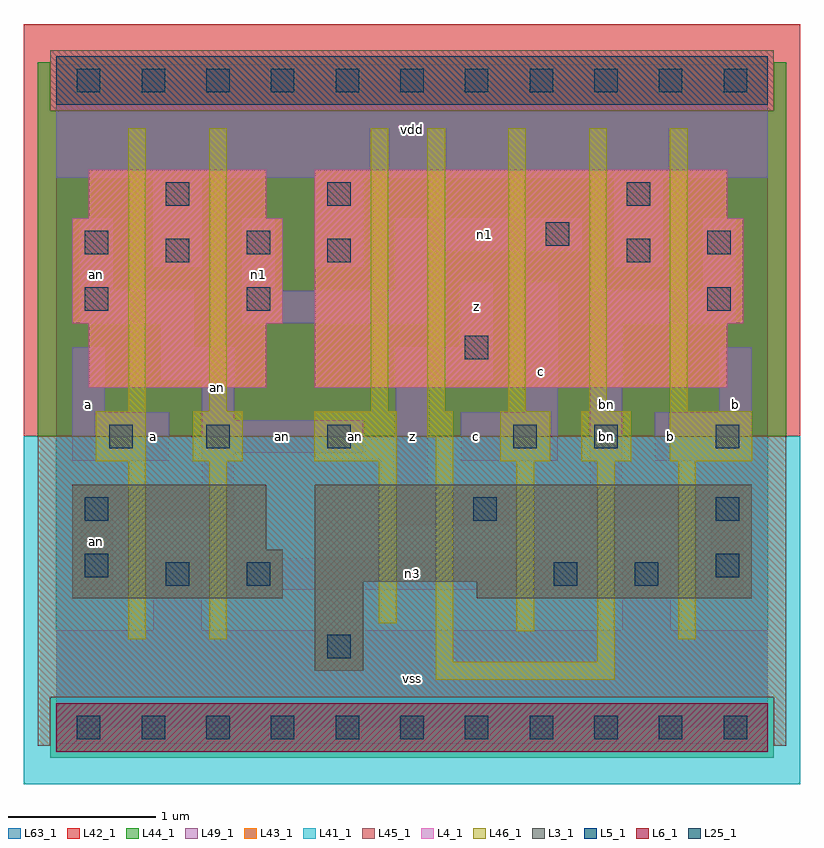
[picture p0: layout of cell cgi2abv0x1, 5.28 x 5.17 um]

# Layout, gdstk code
import gdstk
lib = gdstk.Library(unit=1e-6, precision=1e-09)
def R(c, l, rs):  # rectangles x0, y0, x1, y1
    for r in rs: c.add(gdstk.rectangle(r[:2], r[2:], *l))
def A(c, l, x, y, w, h, nx, ny, dx, dy):  # array of equal rectangles
    R(c, l, [(x+i*dx, y+j*dy, x+i*dx+w, y+j*dy+h) for i in range(nx) for j in range(ny)])
L3_1 = (3, 1)
L4_1 = (4, 1)
L5_1 = (5, 1)
L6_1 = (6, 1)
L25_1 = (25, 1)
L41_1 = (41, 1)
L42_1 = (42, 1)
L43_1 = (43, 1)
L44_1 = (44, 1)
L45_1 = (45, 1)
L46_1 = (46, 1)
L49_1 = (49, 1)
L63_1 = (63, 1)

cgi2abv0x1 = lib.new_cell('cgi2abv0x1')
R(cgi2abv0x1, L3_1, [(1.76,0.385,2.09,0.99), (0.11,0.88,1.54,1.21), (2.86,0.88,4.73,0.99), (1.76,0.99,4.73,1.65), (0.11,1.21,1.43,1.65)])
R(cgi2abv0x1, L4_1, [(0.22,2.31,1.43,2.75), (1.76,2.31,4.565,2.75), (0.11,2.75,1.54,3.465), (1.76,2.75,4.675,3.465), (0.22,3.465,1.43,3.795), (1.76,3.465,4.565,3.795)])
R(cgi2abv0x1, L5_1, [(0,4.235,4.84,4.565)])
R(cgi2abv0x1, L6_1, [(0,-0.165,4.84,0.165)])
A(cgi2abv0x1, L25_1, 0.14, -0.08, 0.16, 0.16, 11, 2, 0.44, 4.4)
R(cgi2abv0x1, L25_1, [(1.845,0.47,2.005,0.63), (0.745,0.965,0.905,1.125), (1.295,0.965,1.455,1.125), (3.385,0.965,3.545,1.125), (3.935,0.965,4.095,1.125), (0.195,1.02,0.355,1.18), (4.485,1.02,4.645,1.18), (0.195,1.405,0.355,1.565), (2.835,1.405,2.995,1.565), (4.485,1.405,4.645,1.565), (0.36,1.9,0.52,2.06), (1.02,1.9,1.18,2.06), (1.845,1.9,2.005,2.06), (3.11,1.9,3.27,2.06), (3.66,1.9,3.82,2.06), (4.485,1.9,4.645,2.06), (2.78,2.505,2.94,2.665), (0.195,2.835,0.355,2.995), (1.295,2.835,1.455,2.995), (4.43,2.835,4.59,2.995), (0.745,3.165,0.905,3.325), (1.845,3.165,2.005,3.325), (3.88,3.165,4.04,3.325), (0.195,3.22,0.355,3.38), (1.295,3.22,1.455,3.38), (4.43,3.22,4.59,3.38), (3.33,3.275,3.49,3.435), (0.745,3.55,0.905,3.71), (1.845,3.55,2.005,3.71), (3.88,3.55,4.04,3.71)])
R(cgi2abv0x1, L41_1, [(-0.22,-0.385,5.06,1.98)])
R(cgi2abv0x1, L42_1, [(-0.22,1.98,5.06,4.785)])
R(cgi2abv0x1, L43_1, [(0,-0.165,4.84,0.165), (1.76,0.385,2.09,0.99), (0.11,0.88,1.54,1.21), (2.86,0.88,4.73,0.99), (1.76,0.99,4.73,1.65), (0.11,1.21,1.43,1.65), (0.22,2.31,1.43,2.75), (1.76,2.31,4.565,2.75), (0.11,2.75,1.54,3.465), (1.76,2.75,4.675,3.465), (0.22,3.465,1.43,3.795), (1.76,3.465,4.565,3.795), (0,4.235,4.84,4.565)])
R(cgi2abv0x1, L44_1, [(-0.04,-0.205,4.88,0.205), (-0.125,1.98,4.965,4.195), (-0.125,4.195,-0.04,4.525), (4.88,4.195,4.965,4.525)])
R(cgi2abv0x1, L45_1, [(-0.125,-0.125,-0.04,0.205), (4.88,-0.125,4.965,0.205), (-0.125,0.205,4.965,1.98), (-0.04,4.195,4.88,4.605)])
A(cgi2abv0x1, L46_1, 2.525, 2.15, 0.12, 1.925, 4, 1, 0.55, 0)
R(cgi2abv0x1, L46_1, [(2.58,0.325,3.8,0.445), (2.58,0.445,2.7,1.975), (3.68,0.445,3.8,1.81), (0.49,0.6,0.61,1.81), (1.04,0.6,1.16,1.81), (4.23,0.6,4.35,1.81), (3.13,0.655,3.25,1.81), (2.195,0.71,2.315,1.81), (0.27,1.81,0.61,2.15), (0.93,1.81,1.27,2.15), (1.755,1.81,2.315,2.15), (3.02,1.81,3.36,2.15), (3.57,1.81,3.91,2.15), (4.175,1.81,4.735,2.15), (2.525,1.975,2.7,2.15), (0.49,2.15,0.61,4.075), (1.04,2.15,1.16,4.075), (2.14,2.15,2.26,4.075)])
R(cgi2abv0x1, L49_1, [(0,-0.11,4.84,0.66), (0.66,0.66,0.99,1.155), (3.85,0.66,4.18,1.155), (0.165,0.935,0.385,1.43), (1.21,0.935,3.63,1.155), (4.455,0.935,4.675,1.43), (2.31,1.375,3.08,1.595), (0.165,1.43,1.21,1.65), (3.63,1.43,4.675,1.65), (2.31,1.595,2.53,2.365), (0.99,1.65,1.21,1.87), (3.63,1.65,3.85,2.75), (0.11,1.815,0.77,2.145), (2.75,1.815,3.41,2.145), (4.07,1.815,4.73,2.145), (0.99,1.87,2.09,2.09), (0.99,2.09,1.21,2.365), (0.11,2.145,0.33,2.585), (3.19,2.145,3.41,3.025), (4.51,2.145,4.73,2.585), (0.715,2.365,1.21,2.585), (2.31,2.365,2.97,2.585), (0.715,2.585,0.935,2.75), (2.75,2.585,2.97,3.025), (0.165,2.75,0.935,2.97), (1.265,2.75,2.53,2.97), (3.63,2.75,4.62,2.97), (0.165,2.97,0.385,3.465), (1.265,2.97,1.485,3.465), (2.31,2.97,2.53,3.245), (4.4,2.97,4.62,3.465), (0.66,3.135,0.99,3.74), (1.76,3.135,2.09,3.74), (3.795,3.135,4.125,3.74), (2.31,3.245,3.575,3.465), (0,3.74,4.84,4.51)])
R(cgi2abv0x1, L63_1, [(0,0,4.84,4.4)])
cgi2abv0x1.add(gdstk.Label('an', (1.1,2.31), layer=46, texttype=1))
cgi2abv0x1.add(gdstk.Label('an', (2.035,1.98), layer=46, texttype=1))
cgi2abv0x1.add(gdstk.Label('bn', (3.74,1.98), layer=49, texttype=1))
cgi2abv0x1.add(gdstk.Label('an', (0.275,1.265), layer=49, texttype=1))
cgi2abv0x1.add(gdstk.Label('a', (0.22,2.2), layer=49, texttype=1))
cgi2abv0x1.add(gdstk.Label('a', (0.66,1.98), layer=49, texttype=1))
cgi2abv0x1.add(gdstk.Label('an', (0.275,3.08), layer=49, texttype=1))
cgi2abv0x1.add(gdstk.Label('n1', (1.375,3.08), layer=49, texttype=1))
cgi2abv0x1.add(gdstk.Label('vss', (2.42,0.33), layer=49, texttype=1))
cgi2abv0x1.add(gdstk.Label('an', (1.54,1.98), layer=49, texttype=1))
cgi2abv0x1.add(gdstk.Label('z', (2.42,1.98), layer=49, texttype=1))
cgi2abv0x1.add(gdstk.Label('vdd', (2.42,4.07), layer=49, texttype=1))
cgi2abv0x1.add(gdstk.Label('n3', (2.42,1.045), layer=49, texttype=1))
cgi2abv0x1.add(gdstk.Label('c', (2.86,1.98), layer=49, texttype=1))
cgi2abv0x1.add(gdstk.Label('c', (3.3,2.42), layer=49, texttype=1))
cgi2abv0x1.add(gdstk.Label('z', (2.86,2.86), layer=49, texttype=1))
cgi2abv0x1.add(gdstk.Label('bn', (3.74,2.2), layer=49, texttype=1))
cgi2abv0x1.add(gdstk.Label('n1', (2.915,3.355), layer=49, texttype=1))
cgi2abv0x1.add(gdstk.Label('b', (4.62,2.2), layer=49, texttype=1))
cgi2abv0x1.add(gdstk.Label('b', (4.18,1.98), layer=49, texttype=1))

lib.write_gds('cgi2abv0x1.gds')
